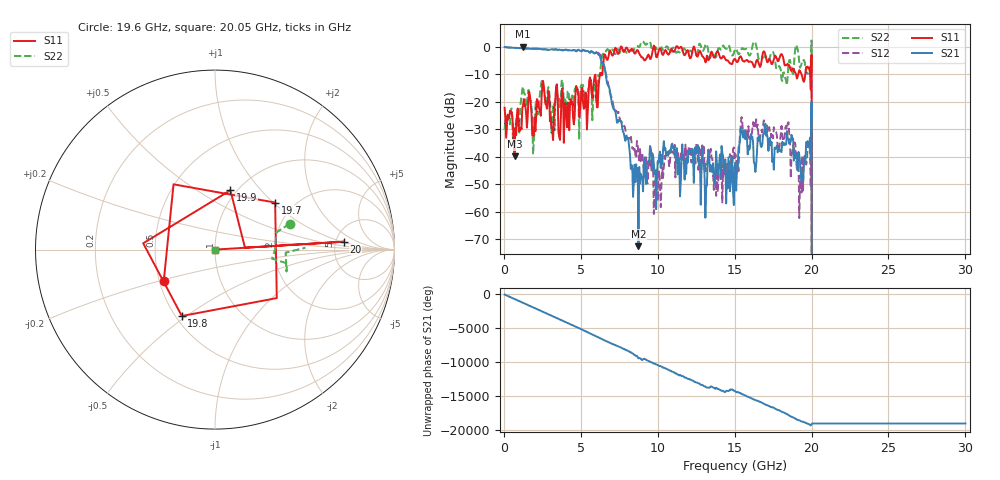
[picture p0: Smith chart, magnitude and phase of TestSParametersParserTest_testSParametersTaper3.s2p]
! File created by SignalIntegrity v1.5.1: Signal and Power Integrity Tools
! https://github.com/Nubis-Communications/SignalIntegrity
# MHz S MA R 50.0
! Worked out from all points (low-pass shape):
!   600 points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, 50 MHz to 30 GHz, reference 50 ohm
!   highest |S21| = 0.07 dB at 1.25 GHz (marker M1); lowest = -72.6 dB at 8.75 GHz (marker M2)
!   |S21| within 3 dB of the highest: start of sweep to 6.182 GHz
!   lowest |S11| = -39.9 dB at 700 MHz (marker M3), VSWR 1.02, Z = 49.4 + j0.835 ohm
!   |S11| at or under -10 dB: start of sweep to 6.25 GHz; 19.35 GHz to 19.59 GHz (239.2 MHz wide, 1.23 % of centre); 20 GHz to end of sweep (the widest 3 of 6)
!   |S22| runs from - to 2.4 dB; largest |S21 - S12| = 0.12
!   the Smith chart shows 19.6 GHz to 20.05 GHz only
!   S11 on the Smith chart (normalised r, x): 19.6 GHz: 0.53, -0.21; 19.7 GHz: 1.60, +1.03; 19.8 GHz: 0.54, -0.48; 19.9 GHz: 0.93, +0.70; 20 GHz: 5.91, +1.07; 20.05 GHz: 1.00, +0.00
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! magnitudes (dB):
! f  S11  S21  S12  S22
! 50 MHz  -22.2  0.0  0.0  -30.2
! 700 MHz  -39.9  -0.3  -0.3  -31.4
! 1.25 GHz  -21.4  0.1  0.3  -14.5
! 2 GHz  -25.7  -0.6  -0.6  -30.6
! 2.5 GHz  -14.2  -0.9  -0.9  -12.5
! 5.05 GHz  -15.0  -1.6  -1.4  -13.8
! 6.4 GHz  -10.2  -6.1  -4.8  -2.8
! 8.75 GHz  -1.8  -72.6  -39.5  0.0
! 10.05 GHz  -1.7  -42.3  -47.5  -1.4
! 10.95 GHz  -1.3  -35.2  -38.4  -0.5
! 13.8 GHz  -2.2  -38.1  -54.2  -3.6
! 15.05 GHz  -4.5  -42.1  -39.0  -0.7
! 15.5 GHz  -4.8  -31.1  -27.7  -0.4
! 19.6 GHz  -9.5  -42.2  -41.5  -7.1
! 19.7 GHz  -7.4  -34.6  -41.7  -9.5
! 19.8 GHz  -7.7  -36.2  -34.8  -7.8
! 19.9 GHz  -9.3  -33.0  -38.8  -8.1
! 20 GHz  -2.9  -20.1  -27.8  2.4
! 20.05 GHz  -  -  -  -
! 20.2 GHz  -  -  -  -
! 25.05 GHz  -  -  -  -
! 30 GHz  -  -  -  -
